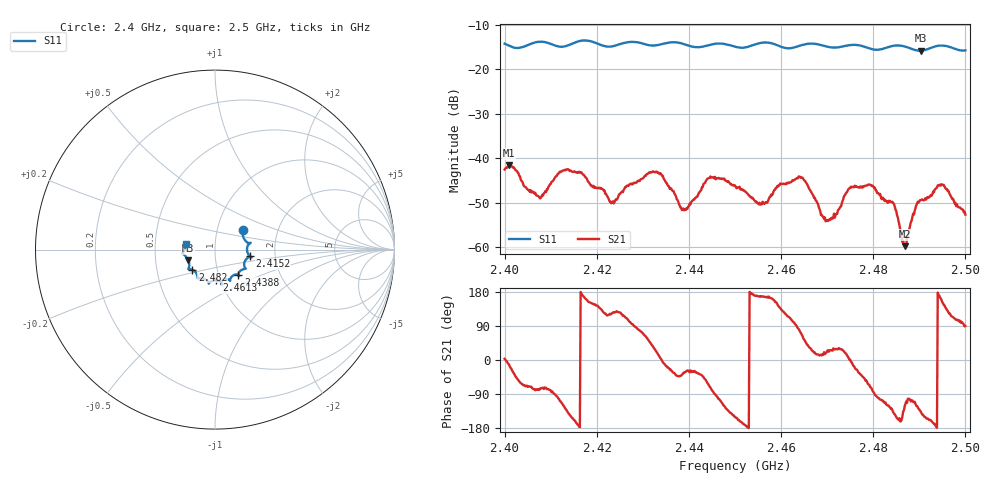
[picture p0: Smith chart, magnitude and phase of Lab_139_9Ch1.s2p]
# Hz S RI R 50
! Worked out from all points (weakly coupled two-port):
!   601 points, 2.4 GHz to 2.5 GHz, reference 50 ohm
!   highest |S21| = -41.63 dB at 2.401 GHz (marker M1); lowest = -59.8 dB at 2.4868 GHz (marker M2)
!   lowest |S11| = -15.9 dB at 2.4903 GHz (marker M3), VSWR 1.38, Z = 36.8 - j4.45 ohm
!   |S11| at or under -10 dB: start of sweep to end of sweep
!   S12 and S22 are empty: the file has one direction only
!   S11 on the Smith chart (normalised r, x): 2.4 GHz: 1.33, +0.31; 2.4152 GHz: 1.48, -0.11; 2.4388 GHz: 1.24, -0.36; 2.4613 GHz: 0.96, -0.34; 2.482 GHz: 0.76, -0.17; 2.5 GHz: 0.72, +0.05
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2.4e9  0.1571 0.1113  0.00744 0.000407  0 0  0 0
2.401e9  0.155 0.0966  0.00807 -0.00188  0 0  0 0
2.4075e9  0.199 0.0373  0.000704 -0.00359  0 0  0 0
2.415167e9  0.1939 -0.0372  -0.00665 -0.00254  0 0  0 0
2.416667e9  0.2037 -0.0435  -0.0069 0.000559  0 0  0 0
2.423333e9  0.1626 -0.0766  -0.00176 0.00264  0 0  0 0
2.433333e9  0.1322 -0.1318  0.00671 0.00165  0 0  0 0
2.438833e9  0.1294 -0.1408  0.00227 -0.0015  0 0  0 0
2.4445e9  0.0837 -0.1672  0.00204 -0.00567  0 0  0 0
2.45e9  0.0687 -0.1647  -0.00426 -0.00248  0 0  0 0
2.455333e9  0.0346 -0.1923  -0.0031 0.000653  0 0  0 0
2.461333e9  0.00788 -0.171  -0.00229 0.00465  0 0  0 0
2.464333e9  -0.0297 -0.1824  0.00208 0.00563  0 0  0 0
2.466667e9  -0.0348 -0.1902  0.00368 0.00176  0 0  0 0
2.470167e9  -0.0451 -0.1719  0.00177 0.000859  0 0  0 0
2.475167e9  -0.0937 -0.161  0.00477 -0.000412  0 0  0 0
2.482e9  -0.1258 -0.1117  -0.00113 -0.00343  0 0  0 0
2.483333e9  -0.1396 -0.1088  -0.00166 -0.00285  0 0  0 0
2.486833e9  -0.1465 -0.1034  -0.000538 -0.000876  0 0  0 0
2.490333e9  -0.1492 -0.059  -0.00245 -0.00233  0 0  0 0
2.494833e9  -0.1827 -0.0201  -0.0046 0.00188  0 0  0 0
2.5e9  -0.1588 0.0324  8.62e-06 0.00232  0 0  0 0
